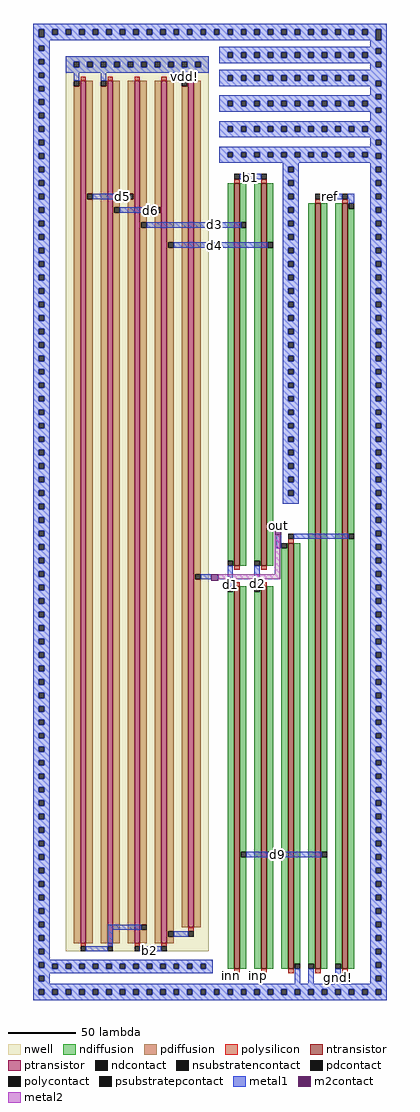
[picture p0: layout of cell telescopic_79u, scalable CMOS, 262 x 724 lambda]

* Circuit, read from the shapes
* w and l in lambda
.subckt telescopic_79u b1 b2 d1 d2 d3 d4 d5 d6 d9 gnd! inn inp out ref vdd!
M1 d9 inn d1 gnd! nfet w=284 l=4
M2 d3 b1 d1 gnd! nfet w=284 l=4
M3 d9 inp d2 gnd! nfet w=284 l=4
M4 d4 b1 d2 gnd! nfet w=284 l=4
M5 gnd! ref out gnd! nfet w=316 l=4
M6 d9 ref gnd! gnd! nfet w=568 l=4
M7 ref ref gnd! gnd! nfet w=568 l=4
M8 d5 d3 vdd! vdd! pfet w=640 l=4
M9 d6 d3 vdd! vdd! pfet w=640 l=4
M10 d3 b2 d5 vdd! pfet w=640 l=4
M11 d4 b2 d6 vdd! pfet w=640 l=4
M12 out d4 vdd! vdd! pfet w=628 l=4
.ends

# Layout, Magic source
magic
tech scmos
<< nwell >>
rect -6 -6 100 658
<< ntransistor >>
rect 119 280 123 564
rect 139 280 143 564
rect 119 -19 123 265
rect 139 -19 143 265
rect 159 -19 163 297
rect 179 -19 183 549
rect 199 -19 203 549
<< ptransistor >>
rect 5 0 9 640
rect 25 0 29 640
rect 45 0 49 640
rect 65 0 69 640
rect 85 12 89 640
<< ndiffusion >>
rect 114 284 119 564
rect 118 280 119 284
rect 123 535 128 564
rect 123 531 124 535
rect 123 280 128 531
rect 134 284 139 564
rect 138 280 139 284
rect 143 520 148 564
rect 143 516 144 520
rect 143 280 148 516
rect 158 293 159 297
rect 118 261 119 265
rect 114 -19 119 261
rect 123 68 128 265
rect 123 64 124 68
rect 123 -19 128 64
rect 138 261 139 265
rect 134 -19 139 261
rect 143 68 148 265
rect 143 64 144 68
rect 143 -19 148 64
rect 154 -19 159 293
rect 163 -15 168 297
rect 163 -19 164 -15
rect 174 -15 179 549
rect 178 -19 179 -15
rect 183 68 188 549
rect 183 64 184 68
rect 183 -19 188 64
rect 194 -15 199 549
rect 198 -19 199 -15
rect 203 545 204 549
rect 203 304 208 545
rect 203 300 204 304
rect 203 -19 208 300
<< pdiffusion >>
rect 4 636 5 640
rect 0 0 5 636
rect 9 556 14 640
rect 9 552 10 556
rect 9 0 14 552
rect 24 636 25 640
rect 20 0 25 636
rect 29 546 34 640
rect 29 542 30 546
rect 29 0 34 542
rect 40 556 45 640
rect 44 552 45 556
rect 40 0 45 552
rect 49 535 54 640
rect 49 531 50 535
rect 49 14 54 531
rect 49 10 50 14
rect 49 0 54 10
rect 60 546 65 640
rect 64 542 65 546
rect 60 0 65 542
rect 69 520 74 640
rect 69 516 70 520
rect 69 9 74 516
rect 84 636 85 640
rect 80 12 85 636
rect 89 274 94 640
rect 89 270 90 274
rect 89 12 94 270
rect 69 5 70 9
rect 69 0 74 5
<< ndcontact >>
rect 114 280 118 284
rect 124 531 128 535
rect 134 280 138 284
rect 144 516 148 520
rect 154 293 158 297
rect 114 261 118 265
rect 124 64 128 68
rect 134 261 138 265
rect 144 64 148 68
rect 164 -19 168 -15
rect 174 -19 178 -15
rect 184 64 188 68
rect 194 -19 198 -15
rect 204 545 208 549
rect 204 300 208 304
<< pdcontact >>
rect 0 636 4 640
rect 10 552 14 556
rect 20 636 24 640
rect 30 542 34 546
rect 40 552 44 556
rect 50 531 54 535
rect 50 10 54 14
rect 60 542 64 546
rect 70 516 74 520
rect 80 636 84 640
rect 90 270 94 274
rect 70 5 74 9
<< psubstratepcontact >>
rect -26 672 -22 678
rect -16 674 -12 678
rect -6 674 -2 678
rect 4 674 8 678
rect 14 674 18 678
rect 24 674 28 678
rect 34 674 38 678
rect 44 674 48 678
rect 54 674 58 678
rect 64 674 68 678
rect 74 674 78 678
rect 84 674 88 678
rect 94 674 98 678
rect 104 674 108 678
rect 114 674 118 678
rect 124 674 128 678
rect 134 674 138 678
rect 144 674 148 678
rect 154 674 158 678
rect 164 674 168 678
rect 174 674 178 678
rect 184 674 188 678
rect 194 674 198 678
rect 204 674 208 678
rect 214 674 218 678
rect 224 670 228 678
rect -26 662 -22 666
rect 114 657 118 661
rect 124 657 128 661
rect 134 657 138 661
rect 144 657 148 661
rect 154 657 158 661
rect 164 657 168 661
rect 174 657 178 661
rect 184 657 188 661
rect 194 657 198 661
rect 204 657 208 661
rect 214 657 218 661
rect 224 660 228 664
rect -26 652 -22 656
rect 224 650 228 654
rect -26 642 -22 646
rect 114 640 118 644
rect 124 640 128 644
rect 134 640 138 644
rect 144 640 148 644
rect 154 640 158 644
rect 164 640 168 644
rect 174 640 178 644
rect 184 640 188 644
rect 194 640 198 644
rect 204 640 208 644
rect 214 640 218 644
rect -26 632 -22 636
rect -26 622 -22 626
rect -26 612 -22 616
rect -26 602 -22 606
rect -26 592 -22 596
rect -26 582 -22 586
rect -26 572 -22 576
rect -26 562 -22 566
rect -26 552 -22 556
rect -26 542 -22 546
rect -26 532 -22 536
rect -26 522 -22 526
rect -26 512 -22 516
rect -26 502 -22 506
rect -26 492 -22 496
rect -26 482 -22 486
rect -26 472 -22 476
rect -26 462 -22 466
rect -26 452 -22 456
rect -26 442 -22 446
rect -26 432 -22 436
rect -26 422 -22 426
rect -26 412 -22 416
rect -26 402 -22 406
rect -26 392 -22 396
rect -26 382 -22 386
rect -26 372 -22 376
rect -26 362 -22 366
rect -26 352 -22 356
rect -26 342 -22 346
rect -26 332 -22 336
rect -26 322 -22 326
rect -26 312 -22 316
rect -26 302 -22 306
rect -26 292 -22 296
rect -26 282 -22 286
rect -26 272 -22 276
rect -26 262 -22 266
rect -26 252 -22 256
rect -26 242 -22 246
rect -26 232 -22 236
rect -26 222 -22 226
rect -26 212 -22 216
rect -26 202 -22 206
rect -26 192 -22 196
rect -26 182 -22 186
rect -26 172 -22 176
rect -26 162 -22 166
rect -26 152 -22 156
rect -26 142 -22 146
rect -26 132 -22 136
rect -26 122 -22 126
rect -26 112 -22 116
rect -26 102 -22 106
rect -26 92 -22 96
rect -26 82 -22 86
rect -26 72 -22 76
rect -26 62 -22 66
rect -26 52 -22 56
rect -26 42 -22 46
rect -26 32 -22 36
rect -26 22 -22 26
rect -26 12 -22 16
rect -26 2 -22 6
rect 224 636 228 640
rect 224 626 228 630
rect 114 621 118 625
rect 124 621 128 625
rect 134 621 138 625
rect 144 621 148 625
rect 154 621 158 625
rect 164 621 168 625
rect 174 621 178 625
rect 184 621 188 625
rect 194 621 198 625
rect 204 621 208 625
rect 214 621 218 625
rect 224 616 228 620
rect 114 602 118 606
rect 124 602 128 606
rect 134 602 138 606
rect 144 602 148 606
rect 154 602 158 606
rect 164 602 168 606
rect 174 602 178 606
rect 184 602 188 606
rect 194 602 198 606
rect 204 602 208 606
rect 214 602 218 606
rect 224 602 228 606
rect 224 592 228 596
rect 114 583 118 587
rect 124 583 128 587
rect 134 583 138 587
rect 144 583 148 587
rect 154 583 158 587
rect 164 583 168 587
rect 174 583 178 587
rect 184 583 188 587
rect 194 583 198 587
rect 204 583 208 587
rect 214 583 218 587
rect 224 582 228 586
rect 159 572 163 576
rect 224 572 228 576
rect 159 562 163 566
rect 224 562 228 566
rect 159 552 163 556
rect 224 552 228 556
rect 159 542 163 546
rect 159 532 163 536
rect 159 522 163 526
rect 159 512 163 516
rect 159 502 163 506
rect 159 492 163 496
rect 159 482 163 486
rect 159 472 163 476
rect 159 462 163 466
rect 159 452 163 456
rect 159 442 163 446
rect 159 432 163 436
rect 159 422 163 426
rect 159 412 163 416
rect 159 402 163 406
rect 159 392 163 396
rect 159 382 163 386
rect 159 372 163 376
rect 159 362 163 366
rect 159 352 163 356
rect 159 342 163 346
rect 159 332 163 336
rect -26 -8 -22 -4
rect -26 -18 -22 -14
rect -16 -19 -12 -15
rect -6 -19 -2 -15
rect 4 -19 8 -15
rect 14 -19 18 -15
rect 24 -19 28 -15
rect 34 -19 38 -15
rect 44 -19 48 -15
rect 54 -19 58 -15
rect 64 -19 68 -15
rect 74 -19 78 -15
rect 84 -19 88 -15
rect 94 -19 98 -15
rect 224 542 228 546
rect 224 532 228 536
rect 224 522 228 526
rect 224 512 228 516
rect 224 502 228 506
rect 224 492 228 496
rect 224 482 228 486
rect 224 472 228 476
rect 224 462 228 466
rect 224 452 228 456
rect 224 442 228 446
rect 224 432 228 436
rect 224 422 228 426
rect 224 412 228 416
rect 224 402 228 406
rect 224 392 228 396
rect 224 382 228 386
rect 224 372 228 376
rect 224 362 228 366
rect 224 352 228 356
rect 224 342 228 346
rect 224 332 228 336
rect 224 322 228 326
rect 224 312 228 316
rect 224 302 228 306
rect 224 292 228 296
rect 224 282 228 286
rect 224 272 228 276
rect 224 262 228 266
rect 224 252 228 256
rect 224 242 228 246
rect 224 232 228 236
rect 224 222 228 226
rect 224 212 228 216
rect 224 202 228 206
rect 224 192 228 196
rect 224 182 228 186
rect 224 172 228 176
rect 224 162 228 166
rect 224 152 228 156
rect 224 142 228 146
rect 224 132 228 136
rect 224 122 228 126
rect 224 112 228 116
rect 224 102 228 106
rect 224 92 228 96
rect 224 82 228 86
rect 224 72 228 76
rect 224 62 228 66
rect 224 52 228 56
rect 224 42 228 46
rect 224 32 228 36
rect 224 22 228 26
rect 224 12 228 16
rect 224 2 228 6
rect 224 -8 228 -4
rect 224 -18 228 -14
rect -26 -28 -22 -24
rect 224 -28 228 -24
rect -26 -38 -22 -34
rect -16 -38 -12 -34
rect -6 -38 -2 -34
rect 4 -38 8 -34
rect 14 -38 18 -34
rect 24 -38 28 -34
rect 34 -38 38 -34
rect 44 -38 48 -34
rect 54 -38 58 -34
rect 64 -38 68 -34
rect 74 -38 78 -34
rect 84 -38 88 -34
rect 94 -38 98 -34
rect 104 -38 108 -34
rect 114 -38 118 -34
rect 124 -38 128 -34
rect 134 -38 138 -34
rect 144 -38 148 -34
rect 154 -38 158 -34
rect 164 -38 168 -34
rect 174 -38 178 -34
rect 184 -38 188 -34
rect 194 -38 198 -34
rect 204 -38 208 -34
rect 214 -38 218 -34
rect 224 -38 228 -34
<< nsubstratencontact >>
rect 0 650 4 654
rect 10 650 14 654
rect 20 650 24 654
rect 30 650 34 654
rect 40 650 44 654
rect 50 650 54 654
rect 60 650 64 654
rect 70 650 74 654
rect 80 650 84 654
rect 90 650 94 654
<< polysilicon >>
rect 5 640 9 643
rect 25 640 29 643
rect 45 640 49 643
rect 65 640 69 643
rect 85 640 89 643
rect 119 564 123 567
rect 139 564 143 567
rect 179 549 183 552
rect 199 549 203 552
rect 159 297 163 300
rect 119 277 123 280
rect 139 277 143 280
rect 119 265 123 268
rect 139 265 143 268
rect 85 9 89 12
rect 5 -2 9 0
rect 25 -2 29 0
rect 45 -2 49 0
rect 65 -2 69 0
rect 119 -22 123 -19
rect 139 -22 143 -19
rect 159 -22 163 -19
rect 179 -22 183 -19
rect 199 -22 203 -19
<< polycontact >>
rect 119 567 123 571
rect 139 567 143 571
rect 179 552 183 556
rect 199 552 203 556
rect 159 300 163 304
rect 85 5 89 9
rect 5 -6 9 -2
rect 25 -6 29 -2
rect 45 -6 49 -2
rect 65 -6 69 -2
rect 119 -26 123 -22
rect 139 -26 143 -22
<< metal1 >>
rect -30 678 232 682
rect -30 672 -26 678
rect -22 674 -16 678
rect -12 674 -6 678
rect -2 674 4 678
rect 8 674 14 678
rect 18 674 24 678
rect 28 674 34 678
rect 38 674 44 678
rect 48 674 54 678
rect 58 674 64 678
rect 68 674 74 678
rect 78 674 84 678
rect 88 674 94 678
rect 98 674 104 678
rect 108 674 114 678
rect 118 674 124 678
rect 128 674 134 678
rect 138 674 144 678
rect 148 674 154 678
rect 158 674 164 678
rect 168 674 174 678
rect 178 674 184 678
rect 188 674 194 678
rect 198 674 204 678
rect 208 674 214 678
rect 218 674 224 678
rect -22 672 224 674
rect -30 670 224 672
rect 228 670 232 678
rect -30 666 -18 670
rect -30 662 -26 666
rect -22 662 -18 666
rect 220 665 232 670
rect -30 656 -18 662
rect 108 664 232 665
rect 108 661 224 664
rect -30 652 -26 656
rect -22 652 -18 656
rect -30 646 -18 652
rect -6 654 100 658
rect -6 650 0 654
rect 4 650 10 654
rect 14 650 20 654
rect 24 650 30 654
rect 34 650 40 654
rect 44 650 50 654
rect 54 650 60 654
rect 64 650 70 654
rect 74 650 80 654
rect 84 650 90 654
rect 94 650 100 654
rect 108 657 114 661
rect 118 657 124 661
rect 128 657 134 661
rect 138 657 144 661
rect 148 657 154 661
rect 158 657 164 661
rect 168 657 174 661
rect 178 657 184 661
rect 188 657 194 661
rect 198 657 204 661
rect 208 657 214 661
rect 218 660 224 661
rect 228 660 232 664
rect 218 657 232 660
rect 108 654 232 657
rect 108 653 224 654
rect -6 646 100 650
rect 220 650 224 653
rect 228 650 232 654
rect 220 648 232 650
rect -30 642 -26 646
rect -22 642 -18 646
rect -30 636 -18 642
rect 0 640 4 646
rect 20 640 24 646
rect 80 640 84 646
rect 108 644 232 648
rect 108 640 114 644
rect 118 640 124 644
rect 128 640 134 644
rect 138 640 144 644
rect 148 640 154 644
rect 158 640 164 644
rect 168 640 174 644
rect 178 640 184 644
rect 188 640 194 644
rect 198 640 204 644
rect 208 640 214 644
rect 218 640 232 644
rect 108 636 224 640
rect 228 636 232 640
rect -30 632 -26 636
rect -22 632 -18 636
rect -30 626 -18 632
rect 220 630 232 636
rect 220 629 224 630
rect -30 622 -26 626
rect -22 622 -18 626
rect -30 616 -18 622
rect 108 626 224 629
rect 228 626 232 630
rect 108 625 232 626
rect 108 621 114 625
rect 118 621 124 625
rect 128 621 134 625
rect 138 621 144 625
rect 148 621 154 625
rect 158 621 164 625
rect 168 621 174 625
rect 178 621 184 625
rect 188 621 194 625
rect 198 621 204 625
rect 208 621 214 625
rect 218 621 232 625
rect 108 620 232 621
rect 108 617 224 620
rect -30 612 -26 616
rect -22 612 -18 616
rect -30 606 -18 612
rect 220 616 224 617
rect 228 616 232 620
rect 220 610 232 616
rect -30 602 -26 606
rect -22 602 -18 606
rect -30 596 -18 602
rect 108 606 232 610
rect 108 602 114 606
rect 118 602 124 606
rect 128 602 134 606
rect 138 602 144 606
rect 148 602 154 606
rect 158 602 164 606
rect 168 602 174 606
rect 178 602 184 606
rect 188 602 194 606
rect 198 602 204 606
rect 208 602 214 606
rect 218 602 224 606
rect 228 602 232 606
rect 108 598 232 602
rect -30 592 -26 596
rect -22 592 -18 596
rect -30 586 -18 592
rect 220 596 232 598
rect 220 592 224 596
rect 228 592 232 596
rect 220 591 232 592
rect -30 582 -26 586
rect -22 582 -18 586
rect -30 576 -18 582
rect 108 587 232 591
rect 108 583 114 587
rect 118 583 124 587
rect 128 583 134 587
rect 138 583 144 587
rect 148 583 154 587
rect 158 583 164 587
rect 168 583 174 587
rect 178 583 184 587
rect 188 583 194 587
rect 198 583 204 587
rect 208 583 214 587
rect 218 586 232 587
rect 218 583 224 586
rect 108 582 224 583
rect 228 582 232 586
rect 108 579 232 582
rect -30 572 -26 576
rect -22 572 -18 576
rect -30 566 -18 572
rect 155 576 167 579
rect 155 572 159 576
rect 163 572 167 576
rect 123 567 139 571
rect -30 562 -26 566
rect -22 562 -18 566
rect -30 556 -18 562
rect 155 566 167 572
rect 155 562 159 566
rect 163 562 167 566
rect 155 556 167 562
rect 220 576 232 579
rect 220 572 224 576
rect 228 572 232 576
rect 220 566 232 572
rect 220 562 224 566
rect 228 562 232 566
rect 220 556 232 562
rect -30 552 -26 556
rect -22 552 -18 556
rect 14 552 40 556
rect 155 552 159 556
rect 163 552 167 556
rect 183 552 199 556
rect 203 552 208 556
rect -30 546 -18 552
rect 155 546 167 552
rect -30 542 -26 546
rect -22 542 -18 546
rect 34 542 60 546
rect 155 542 159 546
rect 163 542 167 546
rect 204 549 208 552
rect 220 552 224 556
rect 228 552 232 556
rect 220 546 232 552
rect -30 536 -18 542
rect -30 532 -26 536
rect -22 532 -18 536
rect 155 536 167 542
rect -30 526 -18 532
rect 54 531 124 535
rect 155 532 159 536
rect 163 532 167 536
rect -30 522 -26 526
rect -22 522 -18 526
rect -30 516 -18 522
rect 155 526 167 532
rect 155 522 159 526
rect 163 522 167 526
rect 74 516 144 520
rect 155 516 167 522
rect -30 512 -26 516
rect -22 512 -18 516
rect -30 506 -18 512
rect -30 502 -26 506
rect -22 502 -18 506
rect -30 496 -18 502
rect -30 492 -26 496
rect -22 492 -18 496
rect -30 486 -18 492
rect -30 482 -26 486
rect -22 482 -18 486
rect -30 476 -18 482
rect -30 472 -26 476
rect -22 472 -18 476
rect -30 466 -18 472
rect -30 462 -26 466
rect -22 462 -18 466
rect -30 456 -18 462
rect -30 452 -26 456
rect -22 452 -18 456
rect -30 446 -18 452
rect -30 442 -26 446
rect -22 442 -18 446
rect -30 436 -18 442
rect -30 432 -26 436
rect -22 432 -18 436
rect -30 426 -18 432
rect -30 422 -26 426
rect -22 422 -18 426
rect -30 416 -18 422
rect -30 412 -26 416
rect -22 412 -18 416
rect -30 406 -18 412
rect -30 402 -26 406
rect -22 402 -18 406
rect -30 396 -18 402
rect -30 392 -26 396
rect -22 392 -18 396
rect -30 386 -18 392
rect -30 382 -26 386
rect -22 382 -18 386
rect -30 376 -18 382
rect -30 372 -26 376
rect -22 372 -18 376
rect -30 366 -18 372
rect -30 362 -26 366
rect -22 362 -18 366
rect -30 356 -18 362
rect -30 352 -26 356
rect -22 352 -18 356
rect -30 346 -18 352
rect -30 342 -26 346
rect -22 342 -18 346
rect -30 336 -18 342
rect -30 332 -26 336
rect -22 332 -18 336
rect -30 326 -18 332
rect 155 512 159 516
rect 163 512 167 516
rect 155 506 167 512
rect 155 502 159 506
rect 163 502 167 506
rect 155 496 167 502
rect 155 492 159 496
rect 163 492 167 496
rect 155 486 167 492
rect 155 482 159 486
rect 163 482 167 486
rect 155 476 167 482
rect 155 472 159 476
rect 163 472 167 476
rect 155 466 167 472
rect 155 462 159 466
rect 163 462 167 466
rect 155 456 167 462
rect 155 452 159 456
rect 163 452 167 456
rect 155 446 167 452
rect 155 442 159 446
rect 163 442 167 446
rect 155 436 167 442
rect 155 432 159 436
rect 163 432 167 436
rect 155 426 167 432
rect 155 422 159 426
rect 163 422 167 426
rect 155 416 167 422
rect 155 412 159 416
rect 163 412 167 416
rect 155 406 167 412
rect 155 402 159 406
rect 163 402 167 406
rect 155 396 167 402
rect 155 392 159 396
rect 163 392 167 396
rect 155 386 167 392
rect 155 382 159 386
rect 163 382 167 386
rect 155 376 167 382
rect 155 372 159 376
rect 163 372 167 376
rect 155 366 167 372
rect 155 362 159 366
rect 163 362 167 366
rect 155 356 167 362
rect 155 352 159 356
rect 163 352 167 356
rect 155 346 167 352
rect 155 342 159 346
rect 163 342 167 346
rect 155 336 167 342
rect 155 332 159 336
rect 163 332 167 336
rect 155 326 167 332
rect 220 542 224 546
rect 228 542 232 546
rect 220 536 232 542
rect 220 532 224 536
rect 228 532 232 536
rect 220 526 232 532
rect 220 522 224 526
rect 228 522 232 526
rect 220 516 232 522
rect 220 512 224 516
rect 228 512 232 516
rect 220 506 232 512
rect 220 502 224 506
rect 228 502 232 506
rect 220 496 232 502
rect 220 492 224 496
rect 228 492 232 496
rect 220 486 232 492
rect 220 482 224 486
rect 228 482 232 486
rect 220 476 232 482
rect 220 472 224 476
rect 228 472 232 476
rect 220 466 232 472
rect 220 462 224 466
rect 228 462 232 466
rect 220 456 232 462
rect 220 452 224 456
rect 228 452 232 456
rect 220 446 232 452
rect 220 442 224 446
rect 228 442 232 446
rect 220 436 232 442
rect 220 432 224 436
rect 228 432 232 436
rect 220 426 232 432
rect 220 422 224 426
rect 228 422 232 426
rect 220 416 232 422
rect 220 412 224 416
rect 228 412 232 416
rect 220 406 232 412
rect 220 402 224 406
rect 228 402 232 406
rect 220 396 232 402
rect 220 392 224 396
rect 228 392 232 396
rect 220 386 232 392
rect 220 382 224 386
rect 228 382 232 386
rect 220 376 232 382
rect 220 372 224 376
rect 228 372 232 376
rect 220 366 232 372
rect 220 362 224 366
rect 228 362 232 366
rect 220 356 232 362
rect 220 352 224 356
rect 228 352 232 356
rect 220 346 232 352
rect 220 342 224 346
rect 228 342 232 346
rect 220 336 232 342
rect 220 332 224 336
rect 228 332 232 336
rect 220 326 232 332
rect -30 322 -26 326
rect -22 322 -18 326
rect -30 316 -18 322
rect -30 312 -26 316
rect -22 312 -18 316
rect 220 322 224 326
rect 228 322 232 326
rect 220 316 232 322
rect 220 312 224 316
rect 228 312 232 316
rect -30 306 -18 312
rect 150 308 154 312
rect -30 302 -26 306
rect -22 302 -18 306
rect 220 306 232 312
rect -30 296 -18 302
rect -30 292 -26 296
rect -22 292 -18 296
rect 150 293 154 303
rect 163 300 204 304
rect 220 302 224 306
rect 228 302 232 306
rect 220 296 232 302
rect -30 286 -18 292
rect -30 282 -26 286
rect -22 282 -18 286
rect 220 292 224 296
rect 228 292 232 296
rect 220 286 232 292
rect -30 276 -18 282
rect -30 272 -26 276
rect -22 272 -18 276
rect -30 266 -18 272
rect 94 270 102 274
rect -30 262 -26 266
rect -22 262 -18 266
rect -30 256 -18 262
rect 114 265 118 280
rect 134 265 138 280
rect 220 282 224 286
rect 228 282 232 286
rect 220 276 232 282
rect 220 272 224 276
rect 228 272 232 276
rect 220 266 232 272
rect 220 262 224 266
rect 228 262 232 266
rect -30 252 -26 256
rect -22 252 -18 256
rect -30 246 -18 252
rect -30 242 -26 246
rect -22 242 -18 246
rect -30 236 -18 242
rect -30 232 -26 236
rect -22 232 -18 236
rect -30 226 -18 232
rect -30 222 -26 226
rect -22 222 -18 226
rect -30 216 -18 222
rect -30 212 -26 216
rect -22 212 -18 216
rect -30 206 -18 212
rect -30 202 -26 206
rect -22 202 -18 206
rect -30 196 -18 202
rect -30 192 -26 196
rect -22 192 -18 196
rect -30 186 -18 192
rect -30 182 -26 186
rect -22 182 -18 186
rect -30 176 -18 182
rect -30 172 -26 176
rect -22 172 -18 176
rect -30 166 -18 172
rect -30 162 -26 166
rect -22 162 -18 166
rect -30 156 -18 162
rect -30 152 -26 156
rect -22 152 -18 156
rect -30 146 -18 152
rect -30 142 -26 146
rect -22 142 -18 146
rect -30 136 -18 142
rect -30 132 -26 136
rect -22 132 -18 136
rect -30 126 -18 132
rect -30 122 -26 126
rect -22 122 -18 126
rect -30 116 -18 122
rect -30 112 -26 116
rect -22 112 -18 116
rect -30 106 -18 112
rect -30 102 -26 106
rect -22 102 -18 106
rect -30 96 -18 102
rect -30 92 -26 96
rect -22 92 -18 96
rect -30 86 -18 92
rect -30 82 -26 86
rect -22 82 -18 86
rect -30 76 -18 82
rect -30 72 -26 76
rect -22 72 -18 76
rect -30 66 -18 72
rect 220 256 232 262
rect 220 252 224 256
rect 228 252 232 256
rect 220 246 232 252
rect 220 242 224 246
rect 228 242 232 246
rect 220 236 232 242
rect 220 232 224 236
rect 228 232 232 236
rect 220 226 232 232
rect 220 222 224 226
rect 228 222 232 226
rect 220 216 232 222
rect 220 212 224 216
rect 228 212 232 216
rect 220 206 232 212
rect 220 202 224 206
rect 228 202 232 206
rect 220 196 232 202
rect 220 192 224 196
rect 228 192 232 196
rect 220 186 232 192
rect 220 182 224 186
rect 228 182 232 186
rect 220 176 232 182
rect 220 172 224 176
rect 228 172 232 176
rect 220 166 232 172
rect 220 162 224 166
rect 228 162 232 166
rect 220 156 232 162
rect 220 152 224 156
rect 228 152 232 156
rect 220 146 232 152
rect 220 142 224 146
rect 228 142 232 146
rect 220 136 232 142
rect 220 132 224 136
rect 228 132 232 136
rect 220 126 232 132
rect 220 122 224 126
rect 228 122 232 126
rect 220 116 232 122
rect 220 112 224 116
rect 228 112 232 116
rect 220 106 232 112
rect 220 102 224 106
rect 228 102 232 106
rect 220 96 232 102
rect 220 92 224 96
rect 228 92 232 96
rect 220 86 232 92
rect 220 82 224 86
rect 228 82 232 86
rect 220 76 232 82
rect 220 72 224 76
rect 228 72 232 76
rect -30 62 -26 66
rect -22 62 -18 66
rect 128 64 144 68
rect 148 64 184 68
rect 220 66 232 72
rect -30 56 -18 62
rect -30 52 -26 56
rect -22 52 -18 56
rect -30 46 -18 52
rect -30 42 -26 46
rect -22 42 -18 46
rect -30 36 -18 42
rect -30 32 -26 36
rect -22 32 -18 36
rect -30 26 -18 32
rect -30 22 -26 26
rect -22 22 -18 26
rect -30 16 -18 22
rect -30 12 -26 16
rect -22 12 -18 16
rect 220 62 224 66
rect 228 62 232 66
rect 220 56 232 62
rect 220 52 224 56
rect 228 52 232 56
rect 220 46 232 52
rect 220 42 224 46
rect 228 42 232 46
rect 220 36 232 42
rect 220 32 224 36
rect 228 32 232 36
rect 220 26 232 32
rect 220 22 224 26
rect 228 22 232 26
rect 220 16 232 22
rect -30 6 -18 12
rect -30 2 -26 6
rect -22 2 -18 6
rect -30 -4 -18 2
rect 25 10 50 14
rect 220 12 224 16
rect 228 12 232 16
rect 25 -2 29 10
rect 74 5 85 9
rect 220 6 232 12
rect 220 2 224 6
rect 228 2 232 6
rect -30 -8 -26 -4
rect -22 -8 -18 -4
rect 9 -6 25 -2
rect 49 -6 65 -2
rect 220 -4 232 2
rect -30 -12 -18 -8
rect 220 -8 224 -4
rect 228 -8 232 -4
rect -30 -14 103 -12
rect -30 -18 -26 -14
rect -22 -15 103 -14
rect 220 -14 232 -8
rect -22 -18 -16 -15
rect -30 -19 -16 -18
rect -12 -19 -6 -15
rect -2 -19 4 -15
rect 8 -19 14 -15
rect 18 -19 24 -15
rect 28 -19 34 -15
rect 38 -19 44 -15
rect 48 -19 54 -15
rect 58 -19 64 -15
rect 68 -19 74 -15
rect 78 -19 84 -15
rect 88 -19 94 -15
rect 98 -19 103 -15
rect -30 -22 103 -19
rect -30 -24 -18 -22
rect -30 -28 -26 -24
rect -22 -28 -18 -24
rect 115 -26 119 -22
rect 135 -26 139 -22
rect -30 -30 -18 -28
rect 164 -30 168 -19
rect 174 -30 178 -19
rect 194 -30 198 -19
rect 220 -18 224 -14
rect 228 -18 232 -14
rect 220 -24 232 -18
rect 220 -28 224 -24
rect 228 -28 232 -24
rect 220 -30 232 -28
rect -30 -34 232 -30
rect -30 -38 -26 -34
rect -22 -38 -16 -34
rect -12 -38 -6 -34
rect -2 -38 4 -34
rect 8 -38 14 -34
rect 18 -38 24 -34
rect 28 -38 34 -34
rect 38 -38 44 -34
rect 48 -38 54 -34
rect 58 -38 64 -34
rect 68 -38 74 -34
rect 78 -38 84 -34
rect 88 -38 94 -34
rect 98 -38 104 -34
rect 108 -38 114 -34
rect 118 -38 124 -34
rect 128 -38 134 -34
rect 138 -38 144 -34
rect 148 -38 154 -34
rect 158 -38 164 -34
rect 168 -38 174 -34
rect 178 -38 184 -34
rect 188 -38 194 -34
rect 198 -38 204 -34
rect 208 -38 214 -34
rect 218 -38 224 -34
rect 228 -38 232 -34
rect -30 -42 232 -38
<< m2contact >>
rect 149 303 154 308
rect 102 269 107 274
<< metal2 >>
rect 149 274 153 303
rect 107 270 153 274
<< labels >>
rlabel metal1 56 -5 56 -5 1 b2
rlabel metal1 104 518 104 518 1 d4
rlabel metal1 104 533 104 533 1 d3
rlabel metal1 36 554 36 554 1 d5
rlabel metal1 57 544 57 544 1 d6
rlabel metal1 131 568 131 568 1 b1
rlabel metal1 190 554 190 554 1 ref
rlabel metal1 152 310 152 310 1 out
rlabel metal1 137 -24 137 -24 1 inp
rlabel metal1 117 -24 117 -24 1 inn
rlabel metal1 151 66 151 66 1 d9
rlabel metal1 116 266 116 266 1 d1
rlabel metal1 136 267 136 267 1 d2
rlabel metal1 196 -25 196 -25 1 gnd!
rlabel metal1 82 643 82 643 1 vdd!
<< end >>
